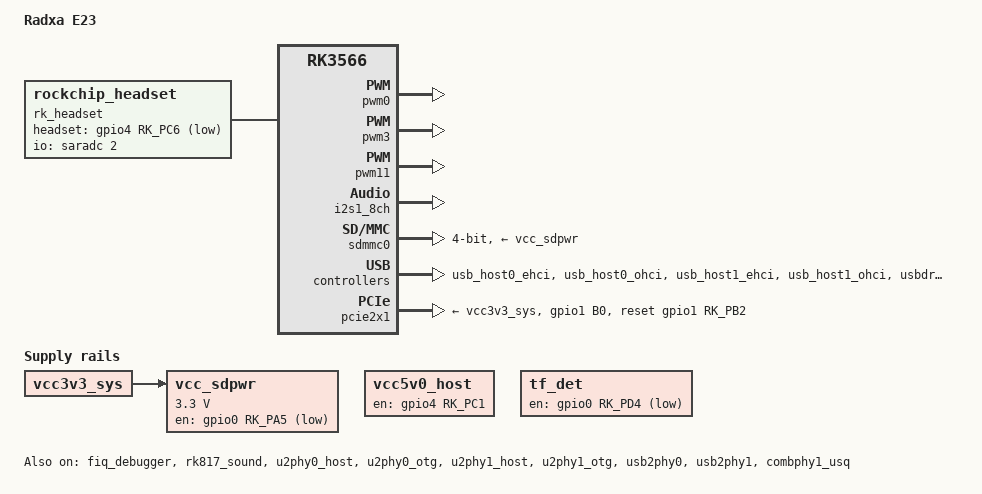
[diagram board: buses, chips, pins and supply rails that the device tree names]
// SPDX-License-Identifier: (GPL-2.0+ OR MIT)
/*
 * Copyright (c) 2020 Rockchip Electronics Co., Ltd.
 * Copyright (c) 2021 Radxa Limited.
 *
 */

/dts-v1/;

#include "rk3566-radxa-rock-3-compute-module.dtsi"

/ {
	model = "Radxa E23";
	compatible = "radxa,e23", "rockchip,rk3566";

	vcc5v0_host: vcc5v0-host-regulator {
		compatible = "regulator-fixed";
		enable-active-high;
		gpio = <&gpio4 RK_PC1 GPIO_ACTIVE_HIGH>;
		pinctrl-names = "default";
		pinctrl-0 = <&vcc5v0_host_en>;
		regulator-name = "vcc5v0_host";
		regulator-always-on;
		regulator-boot-on;
	};

	tf_det: tf-det-regulator {
		compatible = "regulator-fixed";
		enable-active-low;
		gpio = <&gpio0 RK_PD4 GPIO_ACTIVE_LOW>;
		pinctrl-names = "default";
		pinctrl-0 = <&tf_det_en>;
		regulator-name = "tf_det";
		regulator-always-on;
		regulator-boot-on;
    };

	rk_headset: rk-headset {
		compatible = "rockchip_headset";
		headset_gpio = <&gpio4 RK_PC6 GPIO_ACTIVE_LOW>;
		pinctrl-names = "default";
		pinctrl-0 = <&hp_det>;
		io-channels = <&saradc 2>;    //HP_HOOK
	};

	vcc_sdpwr: sdmmc-regulator {
		compatible="regulator-fixed";
		gpio = <&gpio0 RK_PA5 GPIO_ACTIVE_LOW>;
		pinctrl-names="default";
		pinctrl-0=<&sdpwr_en>;
		regulator-name="vcc_sdpwr";
		regulator-min-microvolt=<3300000>;
		regulator-max-microvolt=<3300000>;
		startup-delay-us=<100000>;
		vin-supply=<&vcc3v3_sys>;
	};
};

&fiq_debugger {
	status = "okay";
};

&pwm0 {
	pinctrl-0 = <&pwm0m1_pins>;
	status = "okay";
};

&pwm3 {
	status = "okay";
};

&pwm11 {
	pinctrl-0 = <&pwm11m1_pins>;
	status = "okay";
};

&rk817_sound {
	status = "okay";
};

&i2s1_8ch {
	status = "okay";
};

&display_subsystem {
    status = "disabled";
};

&sdmmc0 {
	max-frequency = <150000000>;
	supports-sd;
	bus-width = <4>;
	cap-mmc-highspeed;
	cap-sd-highspeed;
	disable-wp;
	//sd-uhs-sdr104;
	vmmc-supply = <&vcc_sdpwr>;
	vqmmc-supply = <&vccio_sd>;
	pinctrl-names = "default";
	pinctrl-0 = <&sdmmc0_bus4 &sdmmc0_clk &sdmmc0_cmd &sdmmc0_det>;
	status = "okay";
};

&u2phy0_host {
	phy-supply = <&vcc5v0_host>;
	status = "okay";
};

&u2phy0_otg {
	status = "okay";
};

&u2phy1_host {
	status = "okay";
};

&u2phy1_otg {
	status = "okay";
};

&usb2phy0 {
	status = "okay";
};

&usb2phy1 {
	status = "okay";
};

&usb_host0_ehci {
	status = "okay";
};

&usb_host0_ohci {
	status = "okay";
};

&usb_host1_ehci {
	status = "okay";
};

&usb_host1_ohci {
	status = "okay";
};

&usbdrd_dwc3 {
	extcon=<&usb2phy0>;
	status="okay";
};

&usbdrd30 {
	status = "okay";
};

&usbhost_dwc3 {
	status = "okay";
};

&usbhost30 {
	status = "okay";
};

&combphy1_usq {
	status = "okay";
};

&pcie2x1 {
	reset-gpios = <&gpio1 RK_PB2 GPIO_ACTIVE_HIGH>;
	vpcie3v3-supply = <&vcc3v3_sys>;
	pinctrl-0 = <&pcie20m2_pins>;
	status = "okay";
};

&pinctrl {
	usb {
		vcc5v0_host_en: vcc5v0-host-en {
			rockchip,pins = <4 RK_PC1 RK_FUNC_GPIO &pcfg_pull_none>;
		};
	};

	headphone {
		hp_det: hp-det {
			rockchip,pins = <4 RK_PC6 RK_FUNC_GPIO &pcfg_pull_down>;
		};
	};

	sdcard {
		sdpwr_en: sdpwr-en {
			rockchip,pins = <0 RK_PA5 RK_FUNC_GPIO &pcfg_pull_none>;
		};

		tf_det_en: tf-det-en {
			rockchip,pins = <0 RK_PD4 RK_FUNC_GPIO &pcfg_output_low>;
		};
	};

	pcie20 {
		pcie20m2_pins: pcie20m2-pins {
			rockchip,pins =
				/* pcie20_clkreqnm2 */
				<1 RK_PB0 4 &pcfg_pull_none>;
		};
	};
};
